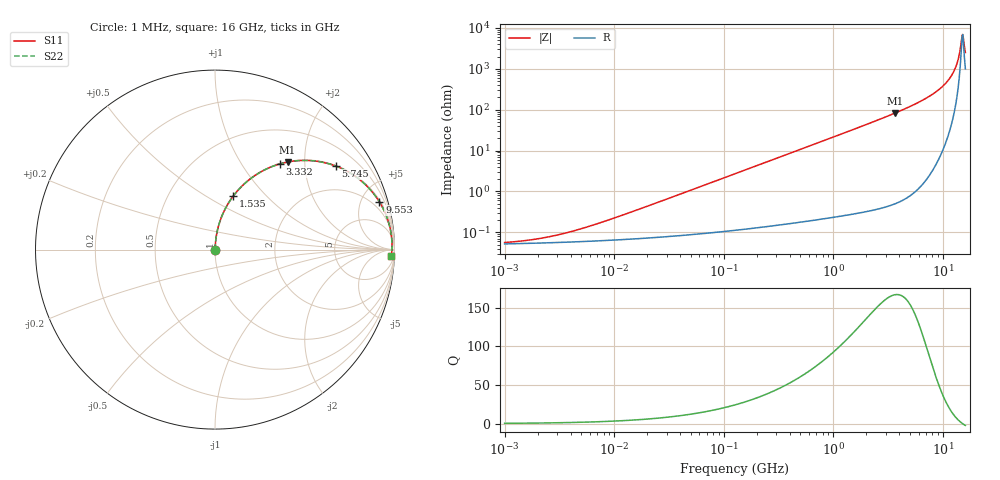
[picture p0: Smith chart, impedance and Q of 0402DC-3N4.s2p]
# MHz  S  MA  R  50
!Freq  MagS11  AngS11  MagS21  AngS21  MagS12  AngS12  MagS22  AngS22
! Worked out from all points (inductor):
!   801 points, 1 MHz to 16 GHz, reference 50 ohm
!   read as one part in series: L = 3.4 nH near 8.946 MHz
!   highest Q = 166 at 3.627 GHz (marker M1), where L = 3.61 nH
!   self-resonance near 14.95 GHz
!   S11 on the Smith chart (normalised r, x): 1 MHz: 1.00, +0.00; 1.535 GHz: 1.01, +0.66; 3.332 GHz: 1.01, +1.50; 5.745 GHz: 1.02, +2.87; 9.553 GHz: 1.16, +6.82; 16 GHz: 21, -46
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1  0.0005602 22.4  0.9995 -0.0  0.9995 -0.0  0.0005602 22.4
2.27786  0.0007323 41.6  0.9995 -0.0  0.9995 -0.0  0.0007323 41.6
5.064525  0.001232 61.3  0.9994 -0.1  0.9994 -0.1  0.001232 61.3
25.34076  0.005461 81.8  0.9992 -0.3  0.9992 -0.3  0.005461 81.8
126.7946  0.02707 86.1  0.9985 -1.5  0.9985 -1.5  0.02707 86.1
642.1543  0.1359 81.4  0.9888 -7.8  0.9888 -7.8  0.1359 81.4
1535.315  0.3138 71.2  0.9468 -18.3  0.9468 -18.3  0.3138 71.2
2261.755  0.4419 63.4  0.894 -26.2  0.894 -26.2  0.4419 63.4
3213.071  0.5821 54.0  0.8095 -35.6  0.8095 -35.6  0.5821 54.0
3331.913  0.5974 53.0  0.7983 -36.7  0.7983 -36.7  0.5974 53.0
3626.585  0.6333 50.4  0.7701 -39.3  0.7701 -39.3  0.6333 50.4
5745.032  0.8178 34.7  0.5695 -54.9  0.5695 -54.9  0.8178 34.7
7589.632  0.9043 24.6  0.4164 -64.7  0.4164 -64.7  0.9043 24.6
9552.522  0.9536 16.2  0.2798 -72.4  0.2798 -72.4  0.9536 16.2
11180.69  0.9747 10.6  0.1839 -76.8  0.1839 -76.8  0.9747 10.6
12619.62  0.9838 6.3  0.1099 -78.4  0.1099 -78.4  0.9838 6.3
13570.41  0.9863 3.7  0.06582 -76.2  0.06582 -76.2  0.9863 3.7
14417.22  0.9867 1.6  0.03055 -63.5  0.03055 -63.5  0.9867 1.6
14770.56  0.9865 0.7  0.01863 -43.0  0.01863 -43.0  0.9865 0.7
15316.88  0.9856 -0.5  0.01711 32.4  0.01711 32.4  0.9856 -0.5
15692.27  0.9847 -1.4  0.02836 56.7  0.02836 56.7  0.9847 -1.4
16000  0.9838 -2.1  0.03911 64.5  0.03911 64.5  0.9838 -2.1
